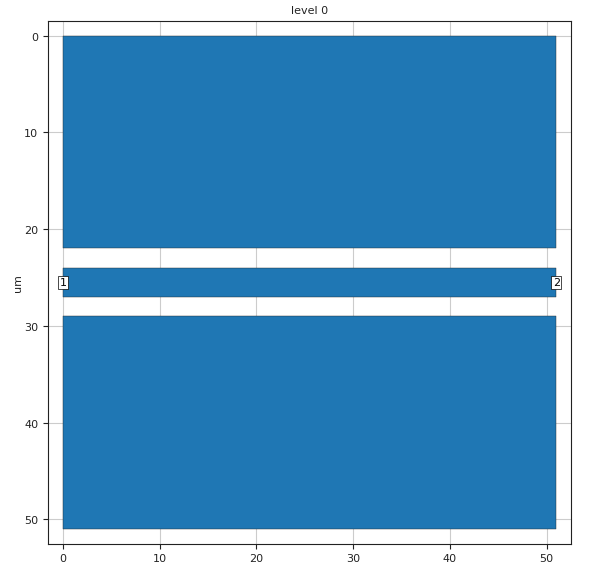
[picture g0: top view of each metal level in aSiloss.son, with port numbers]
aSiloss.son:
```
FTYP SONPROJ 16 ! Sonnet Project File
VER 16.54
HEADER
LIC tudelft52.1.47018 00505696a541 SRV138 aendo
DAT 04/18/2019 10:25:59
BUILT_BY_CREATED xgeom 16.56 04/18/2019 09:26:14
BUILT_BY_SAVED xgeom 16.56
MDATE 04/18/2019 10:22:56
HDATE 04/18/2019 10:21:12
END HEADER
DIM
FREQ GHZ
IND FH
LNG UM
ANG DEG
CON /OH
CAP FF
RES OH
END DIM
FREQ
SIMPLE 5.0
END FREQ
CONTROL
VARSWP
OPTIONS  -bd 
FORCERUN
SPEED 0
CACHE_ABS 1
TARG_ABS 1200
Q_ACC Y
DET_ABS_RES Y
END CONTROL
GEO
SYM
TMET "Lossless" 0 SUP 0 0 0 0
BMET "Lossless" 0 SUP 0 0 0 0
MET "Al (superconducting)" 9 SUP 0 0 0 0.3
BOX 2 51 51 1020 1020 20 0
      1000 1 1 0 0 0 0 "vacuum"
      0.25 10 1 "tandelta" 0 0 0 "a-Si"
      300 11.44 1 0 0 0 0 "Si"
DIM STD YDIR -1
POS -2.408512112 -1.000000305
NOM 2
REF1 POLY 1005 1
0
REF2 POLY 1006 1
3
END
DIM STD YDIR -1
POS -3.353495623 -1.499999496
NOM 3
REF1 POLY 1005 1
3
REF2 POLY 1005 1
0
END
DIM STD YDIR -1
POS -2.28251431 -1.000000305
NOM 2
REF1 POLY 1007 1
0
REF2 POLY 1005 1
3
END
VALVAR tandelta NONE "10^log10tandelta" "Layer Loss Tan"
VALVAR log10tandelta NONE 1 "the log10 of tandelta"
LORGN 0 51 U 
POR1 STD
POLY 1005 1
3
1 50 0 0 0 0 25.5 
POR1 STD
POLY 1005 1
1
2 50 0 0 0 51 25.5 
NUM 3
0 5 0 N 1005 1 1 100 100 0 0 0 Y
0 24
51 24
51 27
0 27
0 24
END
0 5 0 N 1006 1 1 100 100 0 0 0 Y
0 0
51 0
51 22
0 22
0 0
END
0 5 0 N 1007 1 1 100 100 0 0 0 Y
0 29
51 29
51 51
0 51
0 29
END
END GEO
OPT
MAX 100
VARS
VAR log10tandelta N UNDEF UNDEF UNDEF
END
END OPT
VARSWP
STEP 5.0
VAR log10tandelta Y -8.0 -1.0 1.0
END
END VARSWP
QSG
IMPORT NO
EXTRA_METAL NO
UNITS YES
ALIGN NO
REF NO
VIEW_RES NO
METALS YES
USED YES
END QSG
```
